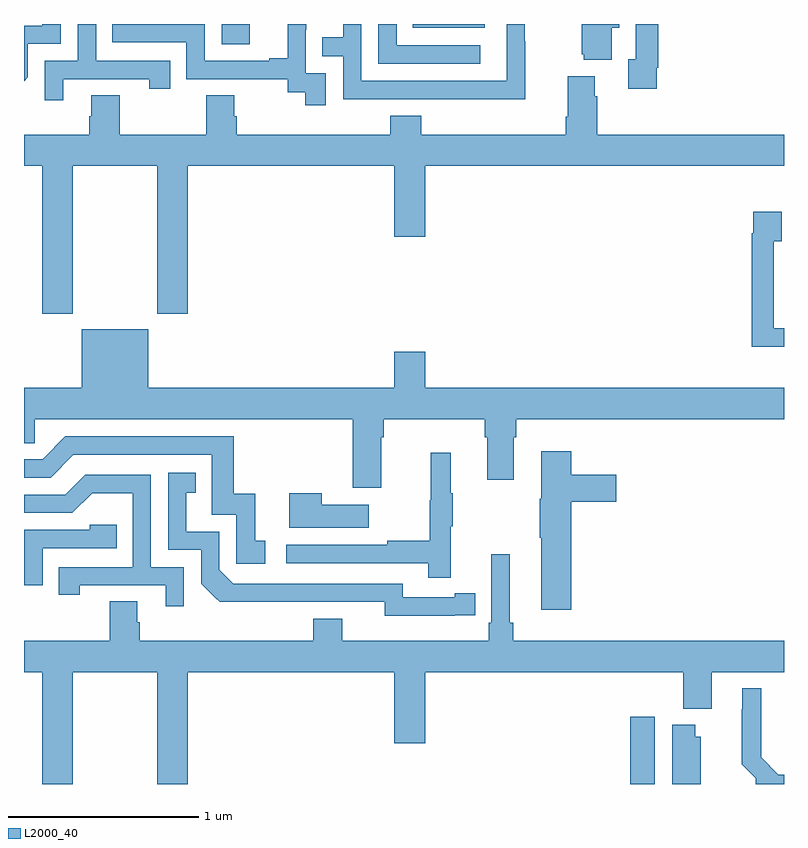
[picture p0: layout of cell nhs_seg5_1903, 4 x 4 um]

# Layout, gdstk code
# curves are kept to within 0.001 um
import gdstk
lib = gdstk.Library(unit=1e-6, precision=1e-09)
def R(c, l, rs):  # rectangles x0, y0, x1, y1
    for r in rs: c.add(gdstk.rectangle(r[:2], r[2:], *l))
def P(c, l, *ps):  # polygons
    for p in ps: c.add(gdstk.Polygon(p, *l))
L2000_40 = (2000, 40)

nhs_seg5_1903 = lib.new_cell('nhs_seg5_1903')
R(nhs_seg5_1903, L2000_40, [(226.19,894.799,226.321,895.153), (224.04,898.692,224.188,898.799), (225.046,898.778,225.424,898.799), (225.729,898.797,225.825,898.799)])
P(nhs_seg5_1903, L2000_40, [(223.02,898.518),(223.02,898.695),(223.194,898.695),(223.194,898.799),(223.097,898.799),(223.097,898.791),(223,898.791),(223,898.498)],
  [(224.589,898.539),(224.484,898.539),(224.484,898.769),(224.486,898.769),(224.486,898.799),(224.387,898.799),(224.387,898.618),(224.291,898.618),(224.291,898.605),(223.95,898.605),(223.95,898.799),(223.465,898.799),(223.465,898.704),(223.854,898.704),(223.854,898.509),(224.388,898.509),(224.388,898.441),(224.481,898.441),(224.481,898.371),(224.589,898.371)],
  [(225.639,898.709),(225.636,898.709),(225.636,898.799),(225.54,898.799),(225.54,898.5),(224.775,898.5),(224.775,898.799),(224.679,898.799),(224.679,898.73),(224.569,898.73),(224.569,898.629),(224.679,898.629),(224.679,898.404),(225.175,898.404),(225.175,898.403),(225.639,898.403)],
  [(225.4,898.686),(224.961,898.686),(224.961,898.799),(224.865,898.799),(224.865,898.59),(225.4,898.59)],
  [(226.33,898.57),(226.337,898.57),(226.337,898.799),(226.221,898.799),(226.221,898.614),(226.181,898.614),(226.181,898.458),(226.33,898.458)],
  [(223.207,898.509),(223.658,898.509),(223.658,898.458),(223.769,898.458),(223.769,898.605),(223.38,898.605),(223.38,898.799),(223.284,898.799),(223.284,898.605),(223.11,898.605),(223.11,898.398),(223.207,898.398)],
  [(226.093,898.778),(226.132,898.778),(226.132,898.799),(225.935,898.799),(225.935,898.641),(225.947,898.641),(225.947,898.61),(226.093,898.61)],
  [(223.257,898.052),(223.702,898.052),(223.702,897.273),(223.862,897.273),(223.862,898.052),(224.948,898.052),(224.948,897.678),(225.112,897.678),(225.112,898.052),(227,898.052),(227,898.216),(226.016,898.216),(226.016,898.418),(226.003,898.418),(226.003,898.525),(225.863,898.525),(225.863,898.312),(225.851,898.312),(225.851,898.216),(225.092,898.216),(225.092,898.315),(224.927,898.315),(224.927,898.216),(224.12,898.216),(224.12,898.314),(224.107,898.314),(224.107,898.424),(223.96,898.424),(223.96,898.216),(223.503,898.216),(223.503,898.424),(223.355,898.424),(223.355,898.314),(223.343,898.314),(223.343,898.216),(223,898.216),(223,898.052),(223.097,898.052),(223.097,897.273),(223.257,897.273)],
  [(227,897.198),(226.947,897.198),(226.947,897.655),(226.987,897.655),(226.987,897.811),(226.839,897.811),(226.839,897.698),(226.831,897.698),(226.831,897.101),(227,897.101)],
  [(225.112,897.073),(224.948,897.073),(224.948,896.884),(223.654,896.884),(223.654,897.193),(223.304,897.193),(223.304,896.884),(223,896.884),(223,896.593),(223.056,896.593),(223.056,896.72),(224.729,896.72),(224.729,896.358),(224.881,896.358),(224.881,896.624),(224.894,896.624),(224.894,896.72),(225.425,896.72),(225.425,896.624),(225.437,896.624),(225.437,896.4),(225.577,896.4),(225.577,896.624),(225.59,896.624),(225.59,896.72),(227,896.72),(227,896.884),(225.112,896.884)],
  [(224.269,896.079),(224.216,896.079),(224.216,896.326),(224.105,896.326),(224.105,896.628),(223.218,896.628),(223.098,896.508),(223,896.508),(223,896.412),(223.14,896.412),(223.26,896.532),(223.989,896.532),(223.989,896.217),(224.118,896.217),(224.118,895.959),(224.269,895.959)],
  [(225.881,896.285),(226.117,896.285),(226.117,896.427),(225.881,896.427),(225.881,896.551),(225.722,896.551),(225.722,896.301),(225.715,896.301),(225.715,896.095),(225.722,896.095),(225.722,895.716),(225.881,895.716)],
  [(225.245,896.155),(225.256,896.155),(225.256,896.329),(225.245,896.329),(225.245,896.542),(225.142,896.542),(225.142,896.292),(225.135,896.292),(225.135,896.078),(224.911,896.078),(224.911,896.058),(224.379,896.058),(224.379,895.962),(225.127,895.962),(225.127,895.884),(225.245,895.884)],
  [(225.266,895.686),(225.374,895.686),(225.374,895.802),(225.266,895.802),(225.266,895.782),(224.994,895.782),(224.994,895.854),(224.1,895.854),(224.028,895.926),(224.028,896.127),(223.855,896.127),(223.855,896.331),(223.904,896.331),(223.904,896.437),(223.758,896.437),(223.758,896.031),(223.932,896.031),(223.932,895.854),(224.03,895.757),(224.898,895.758),(224.898,895.685)],
  [(223.842,895.941),(223.668,895.941),(223.668,896.427),(223.322,896.427),(223.217,896.322),(223,896.322),(223,896.226),(223.254,896.226),(223.358,896.33),(223.572,896.33),(223.572,895.941),(223.183,895.941),(223.183,895.794),(223.294,895.794),(223.294,895.845),(223.745,895.845),(223.745,895.734),(223.842,895.734)],
  [(224.815,896.269),(224.567,896.269),(224.567,896.329),(224.396,896.329),(224.396,896.147),(224.815,896.147)],
  [(223.098,896.04),(223.487,896.04),(223.487,896.163),(223.347,896.163),(223.347,896.136),(223.002,896.136),(223.002,895.941),(223,895.941),(223,895.845),(223.098,895.845)],
  [(223.257,895.388),(223.702,895.388),(223.702,894.799),(223.862,894.799),(223.862,895.388),(224.948,895.388),(224.948,895.014),(225.112,895.014),(225.112,895.388),(226.469,895.388),(226.469,895.196),(226.621,895.196),(226.621,895.388),(227,895.388),(227,895.552),(225.575,895.552),(225.575,895.648),(225.556,895.648),(225.556,896.008),(225.459,896.008),(225.459,895.648),(225.446,895.648),(225.446,895.552),(224.674,895.552),(224.674,895.669),(224.522,895.669),(224.522,895.552),(223.61,895.552),(223.61,895.65),(223.597,895.65),(223.597,895.76),(223.45,895.76),(223.45,895.552),(223,895.552),(223,895.388),(223.097,895.388),(223.097,894.799),(223.257,894.799)],
  [(227,894.847),(226.971,894.847),(226.879,894.94),(226.879,895.303),(226.781,895.303),(226.781,895.193),(226.777,895.193),(226.777,894.902),(226.851,894.828),(226.851,894.799),(227,894.799)],
  [(226.561,895.047),(226.534,895.047),(226.534,895.111),(226.412,895.111),(226.412,894.799),(226.561,894.799)])

lib.write_gds('nhs_seg5_1903.gds')
